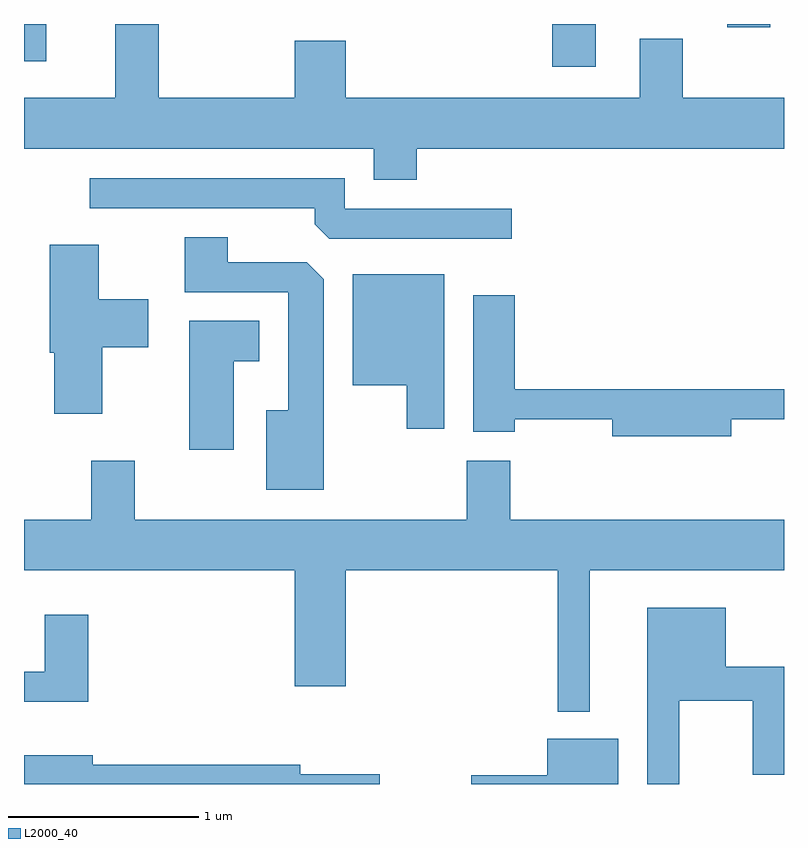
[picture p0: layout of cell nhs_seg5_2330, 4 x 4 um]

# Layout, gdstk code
import gdstk
lib = gdstk.Library(unit=1e-6, precision=1e-09)
def R(c, l, rs):  # rectangles x0, y0, x1, y1
    for r in rs: c.add(gdstk.rectangle(r[:2], r[2:], *l))
def P(c, l, *ps):  # polygons
    for p in ps: c.add(gdstk.Polygon(p, *l))
L2000_40 = (2000, 40)

nhs_seg5_2330 = lib.new_cell('nhs_seg5_2330')
R(nhs_seg5_2330, L2000_40, [(256.391,1503.846,256.619,1504.072), (253.611,1503.876,253.729,1504.072), (257.311,1504.056,257.539,1504.072)])
P(nhs_seg5_2330, L2000_40, [(255.679,1503.416),(257.611,1503.416),(257.611,1503.684),(257.079,1503.684),(257.079,1503.994),(256.851,1503.994),(256.851,1503.684),(255.304,1503.684),(255.304,1503.984),(255.036,1503.984),(255.036,1503.684),(254.319,1503.684),(254.319,1504.072),(254.091,1504.072),(254.091,1503.684),(253.611,1503.684),(253.611,1503.416),(255.451,1503.416),(255.451,1503.251),(255.679,1503.251)],
  [(256.178,1503.099),(255.299,1503.099),(255.299,1503.259),(253.958,1503.259),(253.958,1503.101),(255.141,1503.101),(255.141,1503.017),(255.217,1502.941),(256.178,1502.941)],
  [(255.189,1502.729),(255.099,1502.819),(254.684,1502.819),(254.684,1502.949),(254.456,1502.949),(254.456,1502.661),(255.001,1502.661),(255.001,1502.039),(254.886,1502.039),(254.886,1501.621),(255.189,1501.621)],
  [(254.024,1502.371),(254.264,1502.371),(254.264,1502.624),(254.004,1502.624),(254.004,1502.909),(253.746,1502.909),(253.746,1502.341),(253.771,1502.341),(253.771,1502.021),(254.024,1502.021)],
  [(255.824,1502.754),(255.341,1502.754),(255.341,1502.171),(255.626,1502.171),(255.626,1501.941),(255.824,1501.941)],
  [(257.334,1501.991),(257.611,1501.991),(257.611,1502.149),(256.194,1502.149),(256.194,1502.644),(255.976,1502.644),(255.976,1501.926),(256.194,1501.926),(256.194,1501.991),(256.706,1501.991),(256.706,1501.901),(257.334,1501.901)],
  [(254.714,1502.296),(254.849,1502.296),(254.849,1502.509),(254.481,1502.509),(254.481,1501.831),(254.714,1501.831)],
  [(256.589,1501.196),(257.611,1501.196),(257.611,1501.464),(256.169,1501.464),(256.169,1501.774),(255.941,1501.774),(255.941,1501.464),(254.194,1501.464),(254.194,1501.774),(253.966,1501.774),(253.966,1501.464),(253.611,1501.464),(253.611,1501.196),(255.036,1501.196),(255.036,1500.586),(255.304,1500.586),(255.304,1501.196),(256.421,1501.196),(256.421,1500.453),(256.589,1500.453)],
  [(257.059,1500.511),(257.446,1500.511),(257.446,1500.121),(257.611,1500.121),(257.611,1500.689),(257.304,1500.689),(257.304,1500.999),(256.891,1500.999),(256.891,1500.072),(257.059,1500.072)],
  [(253.949,1500.964),(253.721,1500.964),(253.721,1500.664),(253.611,1500.664),(253.611,1500.506),(253.949,1500.506)],
  [(256.739,1500.309),(256.366,1500.309),(256.366,1500.119),(255.966,1500.119),(255.966,1500.072),(256.739,1500.072)],
  [(255.484,1500.124),(255.064,1500.124),(255.064,1500.174),(253.974,1500.174),(253.974,1500.224),(253.611,1500.224),(253.611,1500.072),(255.484,1500.072)])

lib.write_gds('nhs_seg5_2330.gds')
